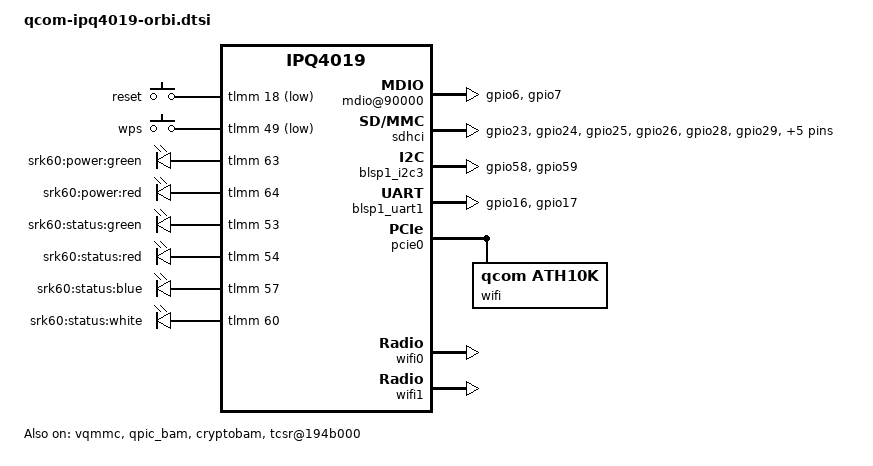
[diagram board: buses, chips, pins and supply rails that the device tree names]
// SPDX-License-Identifier: GPL-2.0-or-later OR MIT

#include "qcom-ipq4019.dtsi"
#include <dt-bindings/gpio/gpio.h>
#include <dt-bindings/input/input.h>
#include <dt-bindings/soc/qcom,tcsr.h>

/ {
	aliases {
		led-boot = &white;
		led-failsafe = &red;
		led-running = &green;
		led-upgrade = &blue;
	};

	soc {
		rng@22000 {
			status = "okay";
		};

		mdio@90000 {
			status = "okay";

			pinctrl-0 = <&mdio_pins>;
			pinctrl-names = "default";
		};

		ess-psgmii@98000 {
			status = "okay";
		};

		counter@4a1000 {
			compatible = "qcom,qca-gcnt";
			reg = <0x4a1000 0x4>;
		};

		tcsr@1949000 {
			compatible = "qcom,tcsr";
			reg = <0x1949000 0x100>;
			qcom,wifi_glb_cfg = <TCSR_WIFI_GLB_CFG>;
		};

		tcsr@194b000 {
			status = "okay";

			compatible = "qcom,tcsr";
			reg = <0x194b000 0x100>;
			qcom,usb-hsphy-mode-select = <TCSR_USB_HSPHY_HOST_MODE>;
		};

		ess_tcsr@1953000 {
			compatible = "qcom,tcsr";
			reg = <0x1953000 0x1000>;
			qcom,ess-interface-select = <TCSR_ESS_PSGMII>;
		};

		tcsr@1957000 {
			compatible = "qcom,tcsr";
			reg = <0x1957000 0x100>;
			qcom,wifi_noc_memtype_m0_m2 = <TCSR_WIFI_NOC_MEMTYPE_M0_M2>;
		};

		crypto@8e3a000 {
			status = "okay";
		};

		watchdog@b017000 {
			status = "okay";
		};

		ess-switch@c000000 {
			status = "okay";
		};

		edma@c080000 {
			status = "okay";
		};
	};

	keys {
		compatible = "gpio-keys";

		reset {
			label = "reset";
			gpios = <&tlmm 18 GPIO_ACTIVE_LOW>;
			linux,code = <KEY_RESTART >;
		};

		wps {
			label = "wps";
			gpios = <&tlmm 49 GPIO_ACTIVE_LOW>;
			linux,code = <KEY_WPS_BUTTON>;
		};
	};

	leds {
		compatible = "gpio-leds";

		power-green {
			label = "srk60:power:green";
			gpios = <&tlmm 63 GPIO_ACTIVE_HIGH>;
			default-state = "on";
		};

		power-red {
			label = "srk60:power:red";
			gpios = <&tlmm 64 GPIO_ACTIVE_HIGH>;
			default-state = "off";
			panic-indicator;
		};

		green: green {
			label = "srk60:status:green";
			gpios = <&tlmm 53 GPIO_ACTIVE_HIGH>;
		};

		red: red {
			label = "srk60:status:red";
			gpios = <&tlmm 54 GPIO_ACTIVE_HIGH>;
		};

		blue: blue {
			label = "srk60:status:blue";
			gpios = <&tlmm 57 GPIO_ACTIVE_HIGH>;
		};

		white: white {
			label = "srk60:status:white";
			gpios = <&tlmm 60 GPIO_ACTIVE_HIGH>;
		};
	};
};

&vqmmc {
	status = "okay";
};

&sdhci {
	status = "okay";

	pinctrl-0 = <&sd_pins>;
	pinctrl-names = "default";
	cd-gpios = <&tlmm 22 GPIO_ACTIVE_LOW>;
	vqmmc-supply = <&vqmmc>;
};

&qpic_bam {
	status = "okay";
};

&tlmm {
	mdio_pins: mdio_pinmux {
		mux_1 {
			pins = "gpio6";
			function = "mdio";
			bias-pull-up;
		};

		mux_2 {
			pins = "gpio7";
			function = "mdc";
			bias-pull-up;
		};
	};

	serial_pins: serial_pinmux {
		mux {
			pins = "gpio16", "gpio17";
			function = "blsp_uart0";
			bias-disable;
		};
	};

	i2c_0_pins: i2c_0_pinmux {
		pinmux {
			function = "blsp_i2c0";
			pins = "gpio58", "gpio59";
			bias-disable;
		};
		// pinconf {
		// 	pins = "gpio58", "gpio59";
		// 	drive-strength = <16>;
		// 	bias-disable;
		// };
	};

	sd_pins: sd_pins {
		pinmux {
			function = "sdio";
			pins = "gpio23", "gpio24", "gpio25", "gpio26",
				"gpio28", "gpio29", "gpio30", "gpio31";
			drive-strength = <10>;
		};

		pinmux_sd_clk {
			function = "sdio";
			pins = "gpio27";
			drive-strength = <16>;
		};

		pinmux_sd7 {
			function = "sdio";
			pins = "gpio32";
			drive-strength = <10>;
			bias-disable;
		};
	};
};

&blsp_dma {
	status = "okay";
};

&blsp1_i2c3 {
	pinctrl-0 = <&i2c_0_pins>;
	pinctrl-names = "default";

	status = "okay";
	
	// tlc59208f@27 {
	// 	#address-cells = <1>;
	// 	#size-cells = <0>;
	// 	compatible = "ti,tlc59108";
	// 	reg = <0x27>;
		
	// 	led0@0 {
	// 		label = "orbi:led0:rgb";
	// 		reg = <0x0>;
	// 	};
	// 	led1@1 {
	// 		label = "orbi:led1:rgb";
	// 		reg = <0x1>;
	// 	};
	// 	led2@2 {
	// 		label = "orbi:led2:rgb";
	// 		reg = <0x2>;
	// 	};
	// 	led3@3 {
	// 		label = "orbi:led3:rgb";
	// 		reg = <0x3>;
	// 	};
	// 	led4@4 {
	// 		label = "orbi:led4:rgb";
	// 		reg = <0x4>;
	// 	};
	// 	led5@5 {
	// 		label = "orbi:led5:rgb";
	// 		reg = <0x5>;
	// 	};
	// 	led6@6 {
	// 		label = "orbi:led6:rgb";
	// 		reg = <0x6>;
	// 	};
	// 	led7@7 {
	// 		label = "orbi:led7:rgb";
	// 		reg = <0x7>;
	// 	};
	// };
};

&blsp1_uart1 {
	status = "okay";

	pinctrl-0 = <&serial_pins>;
	pinctrl-names = "default";
};

&cryptobam {
	status = "okay";
};

&pcie0 {
	status = "okay";

	perst-gpio = <&tlmm 38 GPIO_ACTIVE_LOW>;
	wake-gpio = <&tlmm 50 GPIO_ACTIVE_LOW>;

	bridge@0,0 {
		reg = <0x00000000 0 0 0 0>;
		#address-cells = <3>;
		#size-cells = <2>;
		ranges;

		wifi@1,0 {
			/* QCA9984 */
			compatible = "qcom,ath10k";
			status = "okay";
			reg = <0x00010000 0 0 0 0>;
			ieee80211-freq-limit = <5470000 5875000>;
			qcom,ath10k-calibration-variant = "Netgear-Orbi-Pro-SRK60";
		};
	};
};

&wifi0 {
	status = "okay";

	qcom,ath10k-calibration-variant = "Netgear-Orbi-Pro-SRK60";
};

&wifi1 {
	status = "okay";

	qcom,ath10k-calibration-variant = "Netgear-Orbi-Pro-SRK60";
};
